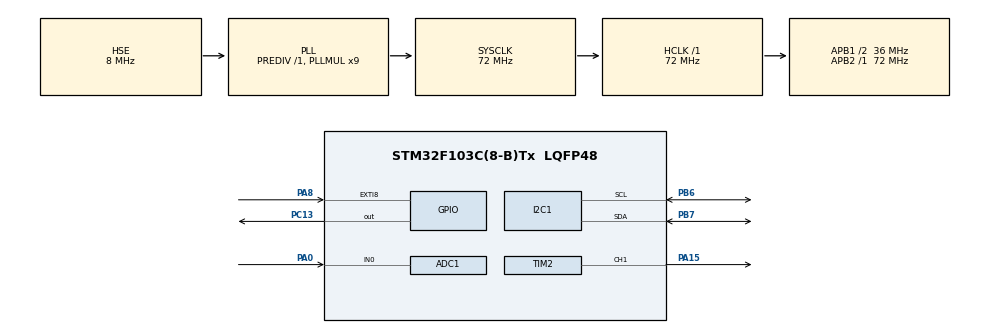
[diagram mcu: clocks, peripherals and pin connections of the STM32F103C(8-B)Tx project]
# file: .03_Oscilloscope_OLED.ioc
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ADC1.Channel-0\#ChannelRegularConversion=ADC_CHANNEL_0
ADC1.ContinuousConvMode=ENABLE
ADC1.NbrOfConversionFlag=1
ADC1.Rank-0\#ChannelRegularConversion=1
ADC1.SamplingTime-0\#ChannelRegularConversion=ADC_SAMPLETIME_55CYCLES_5
ADC1.master=1
I2C1.I2C_Mode=I2C_Fast
Mcu.Family=STM32F1
Mcu.Name=STM32F103C(8-B)Tx
Mcu.Package=LQFP48
NVIC.EXTI9_5_IRQn=true\:0\:0\:false\:false\:true\:true\:true\:true
NVIC.PriorityGroup=NVIC_PRIORITYGROUP_4
NVIC.TIM1_UP_IRQn=true\:0\:0\:false\:false\:true\:true\:true\:true
PA0-WKUP.Signal=ADCx_IN0
PA13.Mode=Serial_Wire
PA13.Signal=SYS_JTMS-SWDIO
PA14.Mode=Serial_Wire
PA14.Signal=SYS_JTCK-SWCLK
PA15.Signal=S_TIM2_CH1_ETR
PA8.GPIO_ModeDefaultEXTI=GPIO_MODE_IT_FALLING
PA8.GPIO_PuPd=GPIO_PULLUP
PA8.Signal=GPXTI8
PB6.Mode=I2C
PB6.Signal=I2C1_SCL
PB7.Mode=I2C
PB7.Signal=I2C1_SDA
PC13-TAMPER-RTC.GPIO_ModeDefaultOutputPP=GPIO_MODE_OUTPUT_OD
PC13-TAMPER-RTC.GPIO_PuPd=GPIO_NOPULL
PC13-TAMPER-RTC.GPIO_Speed=GPIO_SPEED_FREQ_LOW
PC13-TAMPER-RTC.PinState=GPIO_PIN_SET
PC13-TAMPER-RTC.Signal=GPIO_Output
PD0-OSC_IN.Mode=HSE-External-Oscillator
PD0-OSC_IN.Signal=RCC_OSC_IN
PD1-OSC_OUT.Mode=HSE-External-Oscillator
PD1-OSC_OUT.Signal=RCC_OSC_OUT
ProjectManager.HeapSize=0x200
ProjectManager.StackSize=0x400
ProjectManager.TargetToolchain=CMake
RCC.ADCPresc=RCC_ADCPCLK2_DIV6
RCC.AHBFreq_Value=72000000
RCC.APB1CLKDivider=RCC_HCLK_DIV2
RCC.APB1Freq_Value=36000000
RCC.APB1TimFreq_Value=72000000
RCC.APB2Freq_Value=72000000
RCC.APB2TimFreq_Value=72000000
RCC.HCLKFreq_Value=72000000
RCC.PLLMUL=RCC_PLL_MUL9
RCC.PLLSourceVirtual=RCC_PLLSOURCE_HSE
RCC.SYSCLKFreq_VALUE=72000000
RCC.SYSCLKSource=RCC_SYSCLKSOURCE_PLLCLK
RCC.USBFreq_Value=72000000
SH.ADCx_IN0.0=ADC1_IN0,IN0
SH.S_TIM2_CH1_ETR.0=TIM2_CH1,PWM Generation1 CH1
TIM1.AutoReloadPreload=TIM_AUTORELOAD_PRELOAD_ENABLE
TIM1.Period=9
TIM1.Prescaler=7199
TIM2.Channel-PWM\ Generation1\ CH1=TIM_CHANNEL_1
TIM2.Period=999
TIM2.Prescaler=710
TIM2.Pulse-PWM\ Generation1\ CH1=500
VP_TIM1_VS_ClockSourceINT.Mode=Internal
VP_TIM2_VS_ClockSourceINT.Mode=Internal
board=custom

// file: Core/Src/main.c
/* USER CODE BEGIN Header */
/**
  ******************************************************************************
  * @file           : main.c
  * @brief          : Main program body
  ******************************************************************************
  * @attention
  *
  * Copyright (c) 2026 STMicroelectronics.
  * All rights reserved.
  *
  * This software is licensed under terms that can be found in the LICENSE file
  * in the root directory of this software component.
  * If no LICENSE file comes with this software, it is provided AS-IS.
  *
  ******************************************************************************
  */
/* USER CODE END Header */
#include "main.h"

/* USER CODE BEGIN Includes */
#include "ssd1306.h"
#include "ssd1306_fonts.h"
#include "stm32f103xb.h"
#include "stm32f1xx_hal_gpio.h"
#include "stm32f1xx_hal_tim.h"
#include <stdint.h>
#include <sys/types.h>
/* USER CODE END Includes */

/* USER CODE BEGIN PTD */
  // test
/* USER CODE END PTD */

ADC_HandleTypeDef hadc1;

I2C_HandleTypeDef hi2c1;

TIM_HandleTypeDef htim1;
TIM_HandleTypeDef htim2;

/* USER CODE BEGIN PV */
 volatile uint16_t adc_value[128];
 volatile uint16_t count=0;
 volatile u_int8_t isDraw=0;
 volatile uint32_t key_time=0;
 volatile uint8_t freq_index = 2;
 typedef  struct {
  uint16_t psc;
  uint16_t arr;
 }FreqConfig_t;
 const FreqConfig_t freq_table[]={
    {7199, 99},   // 100 Hz
    {7199, 19},   // 500 Hz
    {7199, 9},    // 1 kHz
    {3599, 9}     // 2 kHz
 };
/* USER CODE END PV */

void SystemClock_Config(void);
static void MX_GPIO_Init(void);
static void MX_I2C1_Init(void);
static void MX_TIM1_Init(void);
static void MX_ADC1_Init(void);
static void MX_TIM2_Init(void);

int main(void)
{

  /* MCU Configuration--------------------------------------------------------*/

  /* Reset of all peripherals, Initializes the Flash interface and the Systick. */
  HAL_Init();

  /* Configure the system clock */
  SystemClock_Config();

  /* Initialize all configured peripherals */
  MX_GPIO_Init();
  MX_I2C1_Init();
  MX_TIM1_Init();
  MX_ADC1_Init();
  MX_TIM2_Init();
  /* USER CODE BEGIN 2 */

  //初始化oled屏幕，设置光标位置
    ssd1306_Init();
    HAL_ADC_Start(&hadc1);
    HAL_TIM_Base_Start_IT(&htim1);
    HAL_TIM_PWM_Start(&htim2, TIM_CHANNEL_1);
  /* USER CODE END 2 */

  /* Infinite loop */
  /* USER CODE BEGIN WHILE */

  while (1)
  {
    if (isDraw==1) {
      for (uint16_t x=1; x<128; x++) {
        ssd1306_Line(x-1, adc_value[x-1], x, adc_value[x], White);
      }
      ssd1306_Line(0, 31, 127, 31, White);
      ssd1306_Line(63, 0, 63, 63, White);
        ssd1306_UpdateScreen();
        ssd1306_Fill(Black);
        isDraw=0;
    }
    /* USER CODE END WHILE */

}
}

void SystemClock_Config(void)
{
  RCC_OscInitTypeDef RCC_OscInitStruct = {0};
  RCC_ClkInitTypeDef RCC_ClkInitStruct = {0};
  RCC_PeriphCLKInitTypeDef PeriphClkInit = {0};

  /** Initializes the RCC Oscillators according to the specified parameters
  * in the RCC_OscInitTypeDef structure.
  */
  RCC_OscInitStruct.OscillatorType = RCC_OSCILLATORTYPE_HSE;
  RCC_OscInitStruct.HSEState = RCC_HSE_ON;
  RCC_OscInitStruct.HSEPredivValue = RCC_HSE_PREDIV_DIV1;
  RCC_OscInitStruct.HSIState = RCC_HSI_ON;
  RCC_OscInitStruct.PLL.PLLState = RCC_PLL_ON;
  RCC_OscInitStruct.PLL.PLLSource = RCC_PLLSOURCE_HSE;
  RCC_OscInitStruct.PLL.PLLMUL = RCC_PLL_MUL9;
  if (HAL_RCC_OscConfig(&RCC_OscInitStruct) != HAL_OK)
  {
    Error_Handler();
  }

  /** Initializes the CPU, AHB and APB buses clocks
  */
  RCC_ClkInitStruct.ClockType = RCC_CLOCKTYPE_HCLK|RCC_CLOCKTYPE_SYSCLK
                              |RCC_CLOCKTYPE_PCLK1|RCC_CLOCKTYPE_PCLK2;
  RCC_ClkInitStruct.SYSCLKSource = RCC_SYSCLKSOURCE_PLLCLK;
  RCC_ClkInitStruct.AHBCLKDivider = RCC_SYSCLK_DIV1;
  RCC_ClkInitStruct.APB1CLKDivider = RCC_HCLK_DIV2;
  RCC_ClkInitStruct.APB2CLKDivider = RCC_HCLK_DIV1;

  if (HAL_RCC_ClockConfig(&RCC_ClkInitStruct, FLASH_LATENCY_2) != HAL_OK)
  {
    Error_Handler();
  }
  PeriphClkInit.PeriphClockSelection = RCC_PERIPHCLK_ADC;
  PeriphClkInit.AdcClockSelection = RCC_ADCPCLK2_DIV6;
  if (HAL_RCCEx_PeriphCLKConfig(&PeriphClkInit) != HAL_OK)
  {
    Error_Handler();
  }
}

static void MX_ADC1_Init(void)
{

  ADC_ChannelConfTypeDef sConfig = {0};

  /** Common config
  */
  hadc1.Instance = ADC1;
  hadc1.Init.ScanConvMode = ADC_SCAN_DISABLE;
  hadc1.Init.ContinuousConvMode = ENABLE;
  hadc1.Init.DiscontinuousConvMode = DISABLE;
  hadc1.Init.ExternalTrigConv = ADC_SOFTWARE_START;
  hadc1.Init.DataAlign = ADC_DATAALIGN_RIGHT;
  hadc1.Init.NbrOfConversion = 1;
  if (HAL_ADC_Init(&hadc1) != HAL_OK)
  {
    Error_Handler();
  }

  /** Configure Regular Channel
  */
  sConfig.Channel = ADC_CHANNEL_0;
  sConfig.Rank = ADC_REGULAR_RANK_1;
  sConfig.SamplingTime = ADC_SAMPLETIME_55CYCLES_5;
  if (HAL_ADC_ConfigChannel(&hadc1, &sConfig) != HAL_OK)
  {
    Error_Handler();
  }

}

static void MX_I2C1_Init(void)
{

  hi2c1.Instance = I2C1;
  hi2c1.Init.ClockSpeed = 400000;
  hi2c1.Init.DutyCycle = I2C_DUTYCYCLE_2;
  hi2c1.Init.OwnAddress1 = 0;
  hi2c1.Init.AddressingMode = I2C_ADDRESSINGMODE_7BIT;
  hi2c1.Init.DualAddressMode = I2C_DUALADDRESS_DISABLE;
  hi2c1.Init.OwnAddress2 = 0;
  hi2c1.Init.GeneralCallMode = I2C_GENERALCALL_DISABLE;
  hi2c1.Init.NoStretchMode = I2C_NOSTRETCH_DISABLE;
  if (HAL_I2C_Init(&hi2c1) != HAL_OK)
  {
    Error_Handler();
  }

}

static void MX_TIM1_Init(void)
{

  TIM_ClockConfigTypeDef sClockSourceConfig = {0};
  TIM_MasterConfigTypeDef sMasterConfig = {0};

  htim1.Instance = TIM1;
  htim1.Init.Prescaler = 7199;
  htim1.Init.CounterMode = TIM_COUNTERMODE_UP;
  htim1.Init.Period = 9;
  htim1.Init.ClockDivision = TIM_CLOCKDIVISION_DIV1;
  htim1.Init.RepetitionCounter = 0;
  htim1.Init.AutoReloadPreload = TIM_AUTORELOAD_PRELOAD_ENABLE;
  if (HAL_TIM_Base_Init(&htim1) != HAL_OK)
  {
    Error_Handler();
  }
  sClockSourceConfig.ClockSource = TIM_CLOCKSOURCE_INTERNAL;
  if (HAL_TIM_ConfigClockSource(&htim1, &sClockSourceConfig) != HAL_OK)
  {
    Error_Handler();
  }
  sMasterConfig.MasterOutputTrigger = TIM_TRGO_RESET;
  sMasterConfig.MasterSlaveMode = TIM_MASTERSLAVEMODE_DISABLE;
  if (HAL_TIMEx_MasterConfigSynchronization(&htim1, &sMasterConfig) != HAL_OK)
  {
    Error_Handler();
  }

}

static void MX_TIM2_Init(void)
{

  TIM_ClockConfigTypeDef sClockSourceConfig = {0};
  TIM_MasterConfigTypeDef sMasterConfig = {0};
  TIM_OC_InitTypeDef sConfigOC = {0};

  htim2.Instance = TIM2;
  htim2.Init.Prescaler = 710;
  htim2.Init.CounterMode = TIM_COUNTERMODE_UP;
  htim2.Init.Period = 999;
  htim2.Init.ClockDivision = TIM_CLOCKDIVISION_DIV1;
  htim2.Init.AutoReloadPreload = TIM_AUTORELOAD_PRELOAD_DISABLE;
  if (HAL_TIM_Base_Init(&htim2) != HAL_OK)
  {
    Error_Handler();
  }
  sClockSourceConfig.ClockSource = TIM_CLOCKSOURCE_INTERNAL;
  if (HAL_TIM_ConfigClockSource(&htim2, &sClockSourceConfig) != HAL_OK)
  {
    Error_Handler();
  }
  if (HAL_TIM_PWM_Init(&htim2) != HAL_OK)
  {
    Error_Handler();
  }
  sMasterConfig.MasterOutputTrigger = TIM_TRGO_RESET;
  sMasterConfig.MasterSlaveMode = TIM_MASTERSLAVEMODE_DISABLE;
  if (HAL_TIMEx_MasterConfigSynchronization(&htim2, &sMasterConfig) != HAL_OK)
  {
    Error_Handler();
  }
  sConfigOC.OCMode = TIM_OCMODE_PWM1;
  sConfigOC.Pulse = 500;
  sConfigOC.OCPolarity = TIM_OCPOLARITY_HIGH;
  sConfigOC.OCFastMode = TIM_OCFAST_DISABLE;
  if (HAL_TIM_PWM_ConfigChannel(&htim2, &sConfigOC, TIM_CHANNEL_1) != HAL_OK)
  {
    Error_Handler();
  }
  HAL_TIM_MspPostInit(&htim2);

}

static void MX_GPIO_Init(void)
{
  GPIO_InitTypeDef GPIO_InitStruct = {0};

  /* GPIO Ports Clock Enable */
  __HAL_RCC_GPIOC_CLK_ENABLE();
  __HAL_RCC_GPIOD_CLK_ENABLE();
  __HAL_RCC_GPIOA_CLK_ENABLE();
  __HAL_RCC_GPIOB_CLK_ENABLE();

  /*Configure GPIO pin Output Level */
  HAL_GPIO_WritePin(GPIOC, GPIO_PIN_13, GPIO_PIN_SET);

  /*Configure GPIO pin : PC13 */
  GPIO_InitStruct.Pin = GPIO_PIN_13;
  GPIO_InitStruct.Mode = GPIO_MODE_OUTPUT_OD;
  GPIO_InitStruct.Pull = GPIO_NOPULL;
  GPIO_InitStruct.Speed = GPIO_SPEED_FREQ_LOW;
  HAL_GPIO_Init(GPIOC, &GPIO_InitStruct);

  /*Configure GPIO pin : PA8 */
  GPIO_InitStruct.Pin = GPIO_PIN_8;
  GPIO_InitStruct.Mode = GPIO_MODE_IT_FALLING;
  GPIO_InitStruct.Pull = GPIO_PULLUP;
  HAL_GPIO_Init(GPIOA, &GPIO_InitStruct);

  /* EXTI interrupt init*/
  HAL_NVIC_SetPriority(EXTI9_5_IRQn, 0, 0);
  HAL_NVIC_EnableIRQ(EXTI9_5_IRQn);

}

/* USER CODE BEGIN 4 */
void HAL_TIM_PeriodElapsedCallback(TIM_HandleTypeDef *htim)
{
    if(htim->Instance == TIM1&&isDraw==0)
    {

    adc_value[count]=hadc1.Instance->DR;
    adc_value[count]=63-(adc_value[count]*63/4095);
    count++;
    if (count==128) {
    count=0;
    isDraw=1;
    }
    }
}

void HAL_GPIO_EXTI_Callback(uint16_t GPIO_Pin)
{
    if(GPIO_Pin == GPIO_PIN_8)
    {
        uint32_t tick=HAL_GetTick();
        if (tick-key_time>30) {
            freq_index++;
            if (freq_index >= 4) freq_index = 0;

            // 停止定时器，更新参数
            HAL_TIM_Base_Stop_IT(&htim1);
            __HAL_TIM_SET_PRESCALER(&htim1, freq_table[freq_index].psc);
            __HAL_TIM_SET_AUTORELOAD(&htim1, freq_table[freq_index].arr);
            // 产生更新事件，使新值立即生效
            htim1.Instance->EGR = TIM_EGR_UG;
            HAL_TIM_Base_Start_IT(&htim1);
        }
        key_time=tick;
    }
}
/* USER CODE END 4 */

void Error_Handler(void)
{
  __disable_irq();
  while (1)
  {
  }
}
